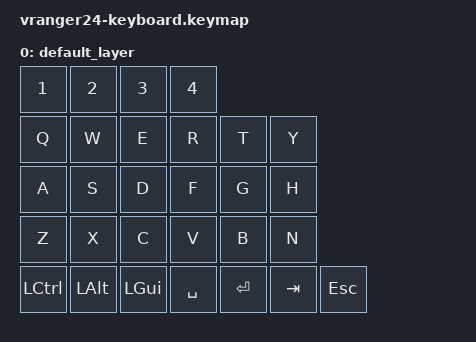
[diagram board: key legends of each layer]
/*
 * VKey29 keymap — 29 keys per half.
 * Order: num(4) | top(6) | home(6) | bottom(6) | thumb(7).
 */
#include <behaviors.dtsi>
#include <dt-bindings/zmk/keys.h>

/ {
	keymap {
		compatible = "zmk,keymap";

		default_layer {
			bindings = <
				/* num: 4 */
				&kp N1   &kp N2   &kp N3   &kp N4
				/* top: 6 */
				&kp Q    &kp W    &kp E    &kp R    &kp T    &kp Y
				/* home: 6 */
				&kp A    &kp S    &kp D    &kp F    &kp G    &kp H
				/* bottom: 6 */
				&kp Z    &kp X    &kp C    &kp V    &kp B    &kp N
				/* thumb: 7 */
				&kp LCTL &kp LALT &kp LGUI &kp SPACE &kp ENTER &kp TAB &kp ESC
			>;
		};
	};
};
